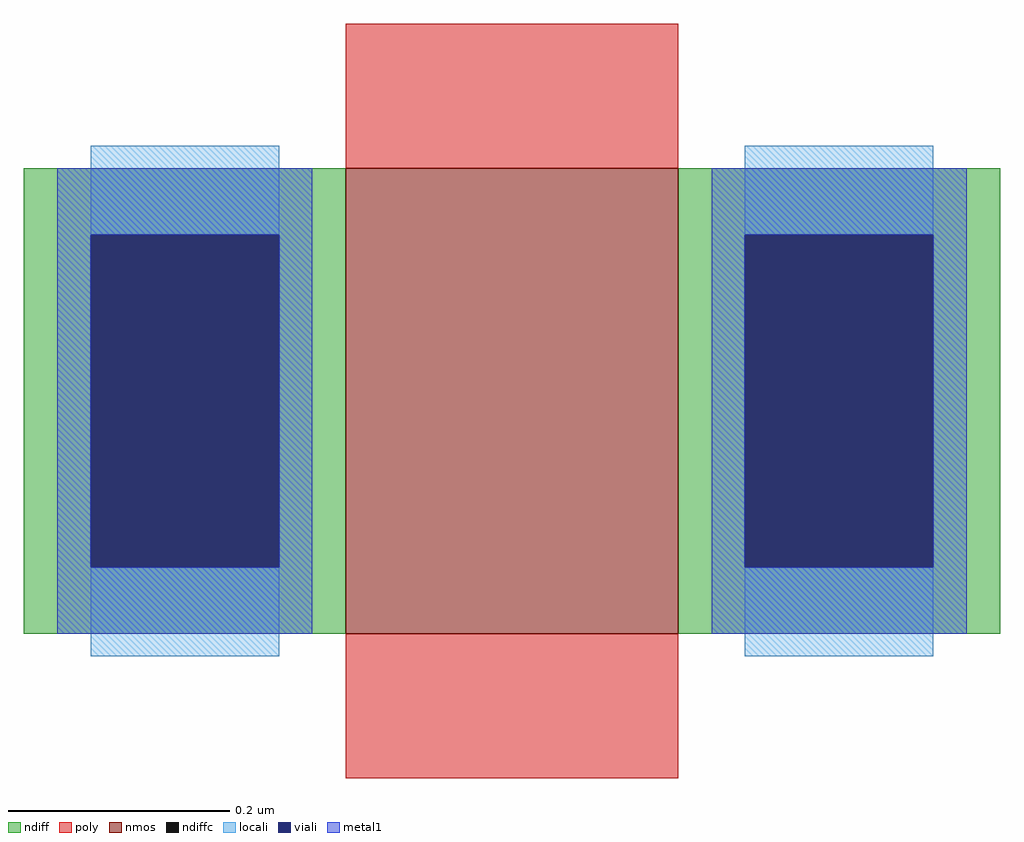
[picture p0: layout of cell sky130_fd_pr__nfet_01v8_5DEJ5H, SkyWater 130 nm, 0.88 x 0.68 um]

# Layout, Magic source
magic
tech sky130A
<< nmos >>
rect -15 -21 15 21
<< ndiff >>
rect -44 15 -15 21
rect -44 -15 -38 15
rect -21 -15 -15 15
rect -44 -21 -15 -15
rect 15 15 44 21
rect 15 -15 21 15
rect 38 -15 44 15
rect 15 -21 44 -15
<< ndiffc >>
rect -38 -15 -21 15
rect 21 -15 38 15
<< poly >>
rect -15 21 15 34
rect -15 -34 15 -21
<< locali >>
rect -38 15 -21 23
rect -38 -23 -21 -15
rect 21 15 38 23
rect 21 -23 38 -15
<< viali >>
rect -38 -15 -21 15
rect 21 -15 38 15
<< metal1 >>
rect -41 15 -18 21
rect -41 -15 -38 15
rect -21 -15 -18 15
rect -41 -21 -18 -15
rect 18 15 41 21
rect 18 -15 21 15
rect 38 -15 41 15
rect 18 -21 41 -15
<< properties >>
string gencell sky130_fd_pr__nfet_01v8
string library sky130
string parameters w 0.42 l 0.3 m 1 nf 1 diffcov 100 polycov 100 guard 0 glc 1 grc 1 gtc 1 gbc 1 tbcov 100 rlcov 100 topc 0 botc 0 poverlap 0 doverlap 1 lmin 0.15 wmin 0.42 compatible {sky130_fd_pr__nfet_01v8 sky130_fd_pr__nfet_01v8_lvt  sky130_fd_bs_flash__special_sonosfet_star  sky130_fd_pr__nfet_g5v0d10v5 sky130_fd_pr__nfet_05v0_nvt  sky130_fd_pr__nfet_03v3_nvt} full_metal 1 viasrc 100 viadrn 100 viagate 100 viagb 0 viagr 0 viagl 0 viagt 0
<< end >>
